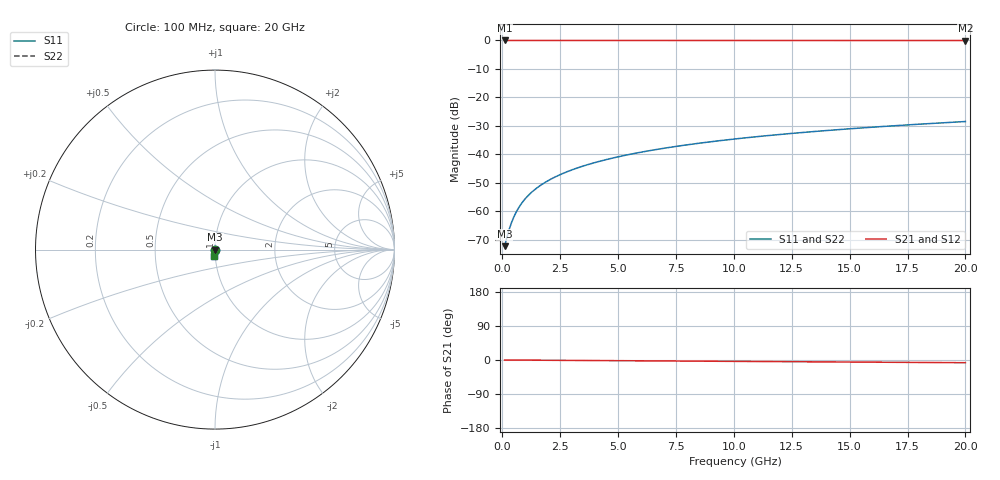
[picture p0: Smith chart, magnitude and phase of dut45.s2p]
! Touchstone file exported from HFSS 2026.1.0
!  File:  C:/ffzhzh/LocalFiles/Ansys_Project_Files/temp_train_TSV_45_1782958675_45568.aedt
!  Generated:  10:19:27 AM Jul  2, 2026
!  Design:  TSV
!  Project:  temp_train_TSV_45_1782958675_45568
! Variables:
!  h_bsmrdl = 2um
!  h_ox = 20um
!  h_rdl = 5um
!  h_sub = 72.99um
!  h_tmrdl = 5um
!  h_tsv = 72.99um
!  h_via = 3um
!  l_bsmrdl = 300um
!  l_sub = 414.66um
!  l_tmrdl = 200um
!  m_sub = 200um
!  pitch = 22.44um
!  r_tsv = 7.33um
!  s_tmrdl = 10um
!  w_bsmrdl = 18um
!  w_sub = 500um
!  w_tmrdl = 12um
!  x_tsv_center1 = 206um
!  x_tsv_center2 = 524um
!  x_tsv_center3 = 736um
!  x_tsv_center4 = 1054um
!  x_tsv_center5 = 1266um
!  x_tsv_center6 = 1584um
# GHz S MA R 50.000000
! Terminal data exported
! Port[1] = TSV1_1_T1
! Port[2] = TSV1_1_T2
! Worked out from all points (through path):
!   200 points, 100 MHz to 20 GHz, reference 50 ohm
!   highest |S21| = 0.00 dB at 100 MHz (marker M1); lowest = 0.0 dB at 20 GHz (marker M2)
!   lowest |S11| = -72.3 dB at 100 MHz (marker M3), VSWR 1.00, Z = 50 - j0.0131 ohm
!   |S11| at or under -10 dB: start of sweep to end of sweep
!   |S22| runs from -72.3 to -28.5 dB; largest |S21 - S12| = 6.3e-15
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0.1  0.0002422 -32.6  0.9998 -0.0  0.9998 -0.0  0.0002422 -32.6
! Gamma 0 0 0 0
! Port Impedance 50 0 50 0
0.2  0.0003473 -50.1  0.9998 -0.1  0.9998 -0.1  0.0003473 -50.1
0.3  0.000481 -58.8  0.9998 -0.1  0.9998 -0.1  0.000481 -58.8
0.4  0.0006311 -63.8  0.9997 -0.2  0.9997 -0.2  0.0006311 -63.8
0.5  0.0007921 -67.0  0.9997 -0.2  0.9997 -0.2  0.0007921 -67.0
0.6  0.0009603 -69.4  0.9997 -0.2  0.9997 -0.2  0.0009603 -69.4
0.8  0.001309 -72.9  0.9996 -0.3  0.9996 -0.3  0.001309 -72.9
1.1  0.001846 -76.4  0.9995 -0.4  0.9995 -0.4  0.001846 -76.4
1.3  0.002207 -78.0  0.9995 -0.5  0.9995 -0.5  0.002207 -78.0
1.5  0.002569 -79.3  0.9995 -0.6  0.9995 -0.6  0.002569 -79.3
1.8  0.003112 -80.8  0.9995 -0.7  0.9995 -0.7  0.003112 -80.8
2.1  0.003656 -81.9  0.9994 -0.8  0.9994 -0.8  0.003656 -81.9
2.7  0.004749 -83.4  0.9994 -1.0  0.9994 -1.0  0.004749 -83.4
3.5  0.006217 -84.7  0.9993 -1.3  0.9993 -1.3  0.006217 -84.7
4.2  0.007514 -85.6  0.9992 -1.5  0.9992 -1.5  0.007514 -85.6
5  0.009007 -86.4  0.9991 -1.8  0.9991 -1.8  0.009007 -86.4
6.8  0.0124 -87.8  0.9989 -2.5  0.9989 -2.5  0.0124 -87.8
8.3  0.01524 -88.8  0.9988 -3.0  0.9988 -3.0  0.01524 -88.8
10.1  0.01867 -89.9  0.9986 -3.6  0.9986 -3.6  0.01867 -89.9
13.4  0.02496 -91.6  0.9983 -4.8  0.9983 -4.8  0.02496 -91.6
16.7  0.03126 -93.1  0.9979 -6.0  0.9979 -6.0  0.03126 -93.1
20  0.03757 -94.5  0.9975 -7.2  0.9975 -7.2  0.03757 -94.5
